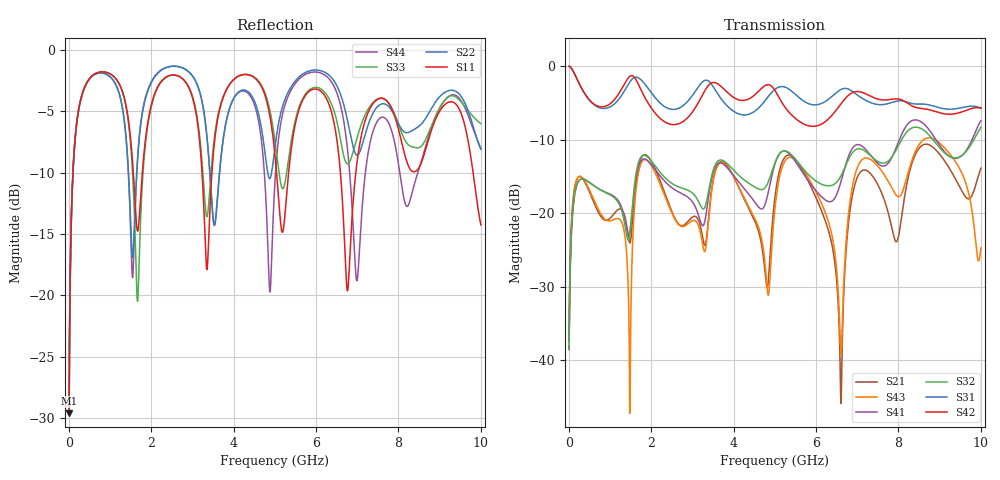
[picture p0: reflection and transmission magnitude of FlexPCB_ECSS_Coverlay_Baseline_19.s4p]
! TOUCHSTONE file generated by CST MICROWAVE STUDIO
! Date and time: Sun Jul  5 19:09:43 2026
! Project name: FlexPCB_ECSS_Coverlay_Baseline.cst
! Parameters = {Gap=0.8; GroundW=7; Hadh=0.025; Hcov=0.025; Hsub=0.1; L=50; Tcu=0.035; W=0.22}
! Header version: 2024
! Port assignment regex: !\s*Touchstone port\s*([0-9]+)\s*=\s*(CST MWS port|CST DES external port|CST DES block port)\s*(.+)\s* \(\"(.*)\"\)(\s*mode\s*([0-9]+))?.*
! Touchstone port assignment:
! Touchstone port 1 = CST MWS port 1 ("")
! Touchstone port 2 = CST MWS port 2 ("")
! Touchstone port 3 = CST MWS port 3 ("")
! Touchstone port 4 = CST MWS port 4 ("")
# GHz S MA R 50
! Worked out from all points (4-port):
!   1002 points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, 10 MHz to 10 GHz, reference 50 ohm
!   strongest paths, dB at 10 MHz, 2.51 GHz, 5.01 GHz, 7.503 GHz, 10 GHz:
!     S42: 0.0, -8.0, -3.4, -4.5, -5.7
!     S31: 0.0, -5.9, -3.1, -5.2, -5.7
!     S32: -38.5, -16.0, -13.0, -13.0, -8.3
!     S41: -38.5, -16.6, -13.2, -13.3, -7.4
!     S43: -37.3, -20.1, -19.0, -13.6, -24.7
!     S21: -37.3, -19.9, -17.6, -16.2, -13.9
!   lowest |S11| = -29.6 dB at 10 MHz (marker M1), VSWR 1.07, Z = 49.8 - j3.29 ohm
!   |S11| at or under -10 dB: 3.235 GHz to 3.474 GHz (239.8 MHz wide, 7.15 % of centre); 5.043 GHz to 5.335 GHz (292.3 MHz wide, 5.63 % of centre); 6.592 GHz to 6.965 GHz (372.8 MHz wide, 5.5 % of centre)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
0.01  0.03302 -91.0  0.01359 85.6  0.9982 -2.3  0.01188 85.8
      0.01359 85.6  0.03332 -91.0  0.01188 85.8  0.9982 -2.4
      0.9982 -2.3  0.01188 85.8  0.03302 -91.0  0.01358 85.6
      0.01188 85.8  0.9982 -2.4  0.01358 85.6  0.03332 -91.0
0.47  0.7503 -158.7  0.1466 -13.8  0.6025 -66.5  0.1641 -42.8
      0.1466 -13.8  0.7493 -158.7  0.164 -42.4  0.6034 -66.9
      0.6025 -66.5  0.164 -42.4  0.7495 -158.9  0.1506 -16.6
      0.1641 -42.8  0.6034 -66.9  0.1506 -16.6  0.7481 -159.5
1.54  0.3664 135.4  0.08366 46.6  0.8161 -159.1  0.1026 -107.1
      0.08366 46.6  0.1459 170.9  0.1084 -98.5  0.859 -174.8
      0.8161 -159.1  0.1084 -98.5  0.335 124.2  0.0525 96.1
      0.1026 -107.1  0.859 -174.8  0.0525 96.1  0.1208 168.1
3.46  0.2894 -144.2  0.1384 35.9  0.7547 -22.4  0.1669 48.6
      0.1384 35.9  0.2591 137.0  0.1752 43.6  0.7663 -2.3
      0.7547 -22.4  0.1752 43.6  0.3285 -152.2  0.1368 35.1
      0.1669 48.6  0.7663 -2.3  0.1368 35.1  0.2541 130.1
4.87  0.5513 129.9  0.04446 38.5  0.6358 -148.6  0.151 -92.9
      0.04446 38.5  0.2992 178.4  0.1714 -107.8  0.7443 -174.7
      0.6358 -148.6  0.1714 -107.8  0.5782 141.9  0.03183 19.3
      0.151 -92.9  0.7443 -174.7  0.03183 19.3  0.1073 157.8
6.83  0.1542 -160.0  0.1068 39.9  0.6881 -19.2  0.2599 64.9
      0.1068 39.9  0.4559 144.5  0.2445 51.5  0.6466 -1.8
      0.6881 -19.2  0.2445 51.5  0.3543 172.6  0.1226 37.9
      0.2599 64.9  0.6466 -1.8  0.1226 37.9  0.2956 103.6
10  0.1936 142.9  0.2021 83.3  0.5163 -3.4  0.4253 78.0
    0.2021 83.3  0.3938 151.6  0.3849 72.4  0.5185 3.0
    0.5163 -3.4  0.3849 72.4  0.5004 154.0  0.05819 61.6
    0.4253 78.0  0.5185 3.0  0.05819 61.6  0.3973 144.4
